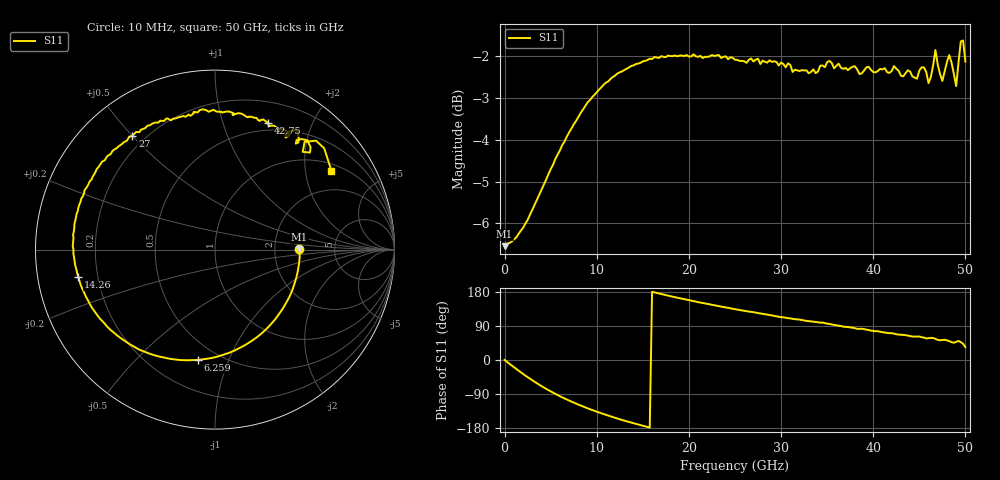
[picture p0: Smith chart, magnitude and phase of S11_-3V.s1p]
!Agilent Technologies,N5227A,US51270434,A.10.00.00
!Agilent N5227A: A.10.00.00
!Date: Thursday, February 26, 2026 12:29:35
!Correction: S11(Full 1 Port(1))
!S1P File: Measurement: S11:
# Hz S  dB  R 50
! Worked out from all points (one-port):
!   201 points, 10 MHz to 50 GHz, reference 50 ohm
!   lowest |S11| = -6.5 dB at 10 MHz (marker M1), VSWR 2.78, Z = 139 + j0.696 ohm
!   |S11| at or under -10 dB: nowhere
!   S11 on the Smith chart (normalised r, x): 10 MHz: 2.78, +0.01; 6.259 GHz: 0.39, -0.78; 14.26 GHz: 0.13, -0.10; 27 GHz: 0.15, +0.50; 42.75 GHz: 0.42, +1.42; 50 GHz: 1.23, +2.78
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1e7  -6.55 0.2
1.75965e9  -6.18 -32.4
3.5093e9  -5.43 -61.3
4.75905e9  -4.82 -79.5
6.25875e9  -4.12 -98.6
9.0082e9  -3.10 -127.3
1.25075e10  -2.38 -156.4
1.425715e10  -2.18 -168.6
1.625675e10  -2.02 178.6
1.875625e10  -2.00 164.2
2.5005e10  -2.08 134.0
2.70046e10  -2.12 126.0
3.125375e10  -2.37 108.9
3.525295e10  -2.11 95.1
3.75025e10  -2.28 86.0
4.275145e10  -2.34 67.1
4.375125e10  -2.33 64.5
4.575085e10  -2.37 56.9
4.60008e10  -2.64 57.8
4.675065e10  -1.85 55.8
4.725055e10  -2.42 52.1
4.775045e10  -2.36 53.3
4.825035e10  -1.97 49.9
4.875025e10  -2.42 45.6
4.925015e10  -2.15 50.2
4.95001e10  -1.64 47.1
4.975005e10  -1.62 42.9
5e10  -2.12 34.1
